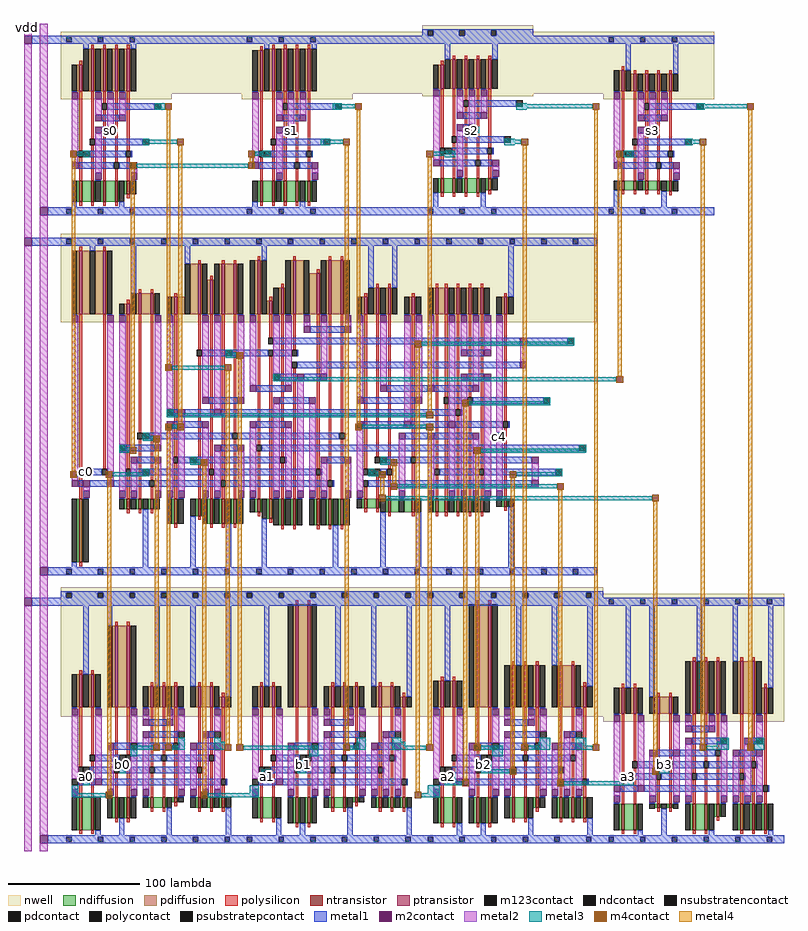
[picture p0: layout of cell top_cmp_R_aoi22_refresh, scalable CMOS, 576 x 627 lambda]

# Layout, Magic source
magic
tech scmos
<< nwell >>
rect 0 568 495 615
rect 0 399 406 462
rect 0 96 548 189
<< metal1 >>
rect -22 606 495 612
rect -10 476 495 482
rect -22 453 406 459
rect -10 203 406 209
rect -22 180 548 186
rect -10 0 548 6
<< m2contact >>
rect -28 606 -22 612
rect -16 476 -10 482
rect -28 453 -22 459
rect -16 203 -10 209
rect -28 180 -22 186
rect -16 0 -10 6
<< metal2 >>
rect -28 612 -22 621
rect -28 459 -22 606
rect -28 186 -22 453
rect -28 -6 -22 180
rect -16 482 -10 621
rect -16 209 -10 476
rect -16 6 -10 203
rect -16 -6 -10 0
<< metal3 >>
rect 71 556 79 561
rect 206 560 213 561
rect 206 557 223 560
rect 206 556 213 557
rect 345 560 353 561
rect 345 557 403 560
rect 345 556 353 557
rect 482 560 488 561
rect 482 557 520 560
rect 482 556 488 557
rect 35 538 40 543
rect 170 538 177 543
rect 309 538 317 543
rect 446 538 452 543
rect 62 533 67 534
rect 62 530 88 533
rect 62 529 67 530
rect 197 533 204 534
rect 197 530 214 533
rect 197 529 204 530
rect 336 533 344 534
rect 336 530 349 533
rect 336 529 344 530
rect 473 533 479 534
rect 473 530 484 533
rect 473 529 479 530
rect 17 524 22 525
rect 12 521 22 524
rect 17 520 22 521
rect 152 524 159 525
rect 147 521 159 524
rect 152 520 159 521
rect 291 524 299 525
rect 282 521 299 524
rect 291 520 299 521
rect 426 520 434 525
rect 57 512 142 515
rect 384 380 389 383
rect 273 377 389 380
rect 125 372 130 374
rect 125 368 133 372
rect 84 359 124 362
rect 161 353 166 356
rect 161 350 421 353
rect 366 335 371 338
rect 309 332 371 335
rect 80 326 85 329
rect 80 323 277 326
rect 84 314 88 317
rect 228 314 277 317
rect 62 309 67 311
rect 62 305 70 309
rect 330 305 335 311
rect 44 300 49 302
rect 44 296 52 300
rect 393 299 398 302
rect 318 296 398 299
rect 98 291 103 293
rect 242 291 247 293
rect 98 287 106 291
rect 242 287 250 291
rect 17 281 22 284
rect 12 278 22 281
rect 62 281 67 284
rect 39 278 67 281
rect 233 282 238 284
rect 233 278 241 282
rect 375 281 380 284
rect 345 278 380 281
rect 255 269 376 272
rect 246 260 448 263
rect 53 71 70 74
rect 53 66 58 71
rect 89 74 94 80
rect 84 71 94 74
rect 116 77 121 80
rect 116 71 124 77
rect 138 71 195 74
rect 188 66 195 71
rect 224 74 231 80
rect 219 71 231 74
rect 251 77 258 80
rect 363 77 371 80
rect 251 74 261 77
rect 251 71 277 74
rect 318 71 335 74
rect 327 66 335 71
rect 362 74 371 77
rect 354 71 371 74
rect 390 74 398 80
rect 500 77 506 80
rect 527 77 533 80
rect 390 71 403 74
rect 497 74 506 77
rect 489 71 506 74
rect 525 71 533 77
rect 44 53 49 62
rect 17 44 22 53
rect 152 48 159 56
rect 179 53 186 62
rect 318 56 326 62
rect 455 59 461 62
rect 318 53 340 56
rect 291 47 299 53
rect 428 50 434 53
rect 453 53 461 59
rect 291 44 304 47
rect 8 38 13 44
rect 8 35 34 38
rect 143 38 150 44
rect 111 35 150 38
rect 278 38 287 44
rect 425 47 434 50
rect 381 44 434 47
rect 273 35 287 38
<< m4contact >>
rect 79 556 84 561
rect 223 556 228 561
rect 403 556 408 561
rect 520 556 525 561
rect 88 529 93 534
rect 214 529 219 534
rect 349 529 354 534
rect 484 529 489 534
rect 7 520 12 525
rect 142 520 147 525
rect 277 520 282 525
rect 421 520 426 525
rect 52 511 57 516
rect 142 511 147 516
rect 268 376 273 381
rect 133 367 138 372
rect 79 358 84 363
rect 124 358 129 363
rect 421 349 426 354
rect 304 331 309 336
rect 277 322 282 327
rect 79 313 84 318
rect 88 313 93 318
rect 223 313 228 318
rect 277 313 282 318
rect 70 304 75 309
rect 52 295 57 300
rect 313 295 318 300
rect 106 286 111 291
rect 250 286 255 291
rect 7 277 12 282
rect 34 277 39 282
rect 241 277 246 282
rect 340 277 345 282
rect 250 268 255 273
rect 376 268 381 273
rect 241 259 246 264
rect 448 259 453 264
rect 70 70 75 75
rect 79 70 84 75
rect 124 70 129 75
rect 133 70 138 75
rect 214 70 219 75
rect 277 70 282 75
rect 313 70 318 75
rect 349 70 354 75
rect 403 70 408 75
rect 484 70 489 75
rect 520 70 525 75
rect 340 52 345 57
rect 448 52 453 57
rect 34 34 39 39
rect 106 34 111 39
rect 268 34 273 39
rect 304 43 309 48
rect 376 43 381 48
<< metal4 >>
rect 8 282 11 520
rect 53 300 56 511
rect 80 363 83 556
rect 89 318 92 529
rect 143 516 146 520
rect 35 39 38 277
rect 71 75 74 304
rect 80 75 83 313
rect 107 39 110 286
rect 125 75 128 358
rect 134 75 137 367
rect 215 75 218 529
rect 224 318 227 556
rect 242 264 245 277
rect 251 273 254 286
rect 269 39 272 376
rect 278 327 281 520
rect 278 75 281 313
rect 305 48 308 331
rect 314 75 317 295
rect 341 57 344 277
rect 350 75 353 529
rect 377 48 380 268
rect 404 75 407 556
rect 422 354 425 520
rect 449 57 452 259
rect 485 75 488 529
rect 521 75 524 556
use carry  carry_0
transform 1 0 0 0 1 203
box 0 0 406 259
use pg0  pg0_0
transform 1 0 0 0 1 0
box 0 0 137 189
use pg1  pg1_0
transform 1 0 137 0 1 0
box 0 0 137 189
use pg2  pg2_0
transform 1 0 274 0 1 0
box 0 0 137 189
use pg3  pg3_0
transform 1 0 411 0 1 0
box 0 0 137 189
use sum0  sum0_0
transform 1 0 0 0 1 476
box 0 0 84 139
use sum1  sum1_0
transform 1 0 137 0 1 476
box 0 0 84 139
use sum2  sum2_0
transform 1 0 274 0 1 476
box 0 0 84 139
use sum3  sum3_0
transform 1 0 411 0 1 476
box 0 0 84 139
<< labels >>
rlabel metal3 19 48 20 53 0 a0
port 1 nsew
rlabel metal3 156 48 157 53 0 a1
port 2 nsew
rlabel metal3 293 48 294 53 0 a2
port 3 nsew
rlabel metal3 430 48 431 53 0 a3
port 4 nsew
rlabel metal3 46 57 47 62 0 b0
port 5 nsew
rlabel metal3 183 57 184 62 0 b1
port 6 nsew
rlabel metal3 320 57 321 62 0 b2
port 7 nsew
rlabel metal3 457 57 458 62 0 b3
port 8 nsew
rlabel metal3 19 279 20 284 0 c0
port 9 nsew
rlabel metal3 332 306 333 311 0 c4
port 10 nsew
rlabel metal3 37 538 38 543 0 s0
port 11 nsew
rlabel metal3 174 538 175 543 0 s1
port 12 nsew
rlabel metal3 311 538 312 543 0 s2
port 13 nsew
rlabel metal3 448 538 449 543 0 s3
port 14 nsew
rlabel metal2 -28 615 -22 621 0 vdd
port 15 nsew
rlabel metal2 -16 615 -10 621 0 gnd
port 16 nsew
<< end >>

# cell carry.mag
magic
tech scmos
<< nwell >>
rect 0 192 406 259
<< ntransistor >>
rect 14 10 16 58
rect 50 50 52 58
rect 59 50 61 58
rect 68 50 70 58
rect 86 39 88 58
rect 104 45 106 58
rect 113 39 115 58
rect 122 39 124 58
rect 131 39 133 58
rect 149 48 151 58
rect 158 43 160 58
rect 167 38 169 58
rect 176 38 178 58
rect 194 38 196 58
rect 203 38 205 58
rect 212 38 214 58
rect 230 51 232 58
rect 239 51 241 58
rect 248 48 250 58
rect 266 48 268 58
rect 284 48 286 58
rect 291 48 293 58
rect 300 48 302 58
rect 309 48 311 58
rect 318 48 320 58
rect 336 52 338 58
<< ptransistor >>
rect 14 198 16 246
rect 32 198 34 246
rect 50 198 52 206
rect 59 198 61 214
rect 68 198 70 214
rect 86 198 88 211
rect 104 198 106 236
rect 113 198 115 224
rect 122 198 124 236
rect 131 198 133 236
rect 149 198 151 239
rect 158 198 160 208
rect 167 198 169 218
rect 176 198 178 239
rect 194 198 196 229
rect 203 198 205 239
rect 212 198 214 239
rect 230 198 232 211
rect 239 198 241 218
rect 248 198 250 218
rect 266 198 268 211
rect 284 198 286 218
rect 291 198 293 218
rect 300 198 302 218
rect 309 198 311 218
rect 318 198 320 218
rect 336 198 338 211
<< ndiffusion >>
rect 12 10 14 58
rect 16 10 17 58
rect 48 50 50 58
rect 52 50 53 58
rect 57 50 59 58
rect 61 50 62 58
rect 66 50 68 58
rect 70 50 71 58
rect 84 39 86 58
rect 88 39 89 58
rect 102 45 104 58
rect 106 45 107 58
rect 111 39 113 58
rect 115 39 116 58
rect 120 39 122 58
rect 124 39 125 58
rect 129 39 131 58
rect 133 39 134 58
rect 147 48 149 58
rect 151 48 152 58
rect 156 43 158 58
rect 160 43 161 58
rect 165 38 167 58
rect 169 38 170 58
rect 174 38 176 58
rect 178 38 179 58
rect 192 38 194 58
rect 196 38 197 58
rect 201 38 203 58
rect 205 38 206 58
rect 210 38 212 58
rect 214 38 215 58
rect 228 51 230 58
rect 232 51 239 58
rect 241 51 242 58
rect 246 48 248 58
rect 250 48 256 58
rect 260 48 266 58
rect 268 48 269 58
rect 282 48 284 58
rect 286 48 291 58
rect 293 48 294 58
rect 298 48 300 58
rect 302 48 303 58
rect 307 48 309 58
rect 311 48 312 58
rect 316 48 318 58
rect 320 48 321 58
rect 334 52 336 58
rect 338 52 339 58
<< pdiffusion >>
rect 12 198 14 246
rect 16 198 22 246
rect 26 198 32 246
rect 34 198 35 246
rect 48 198 50 206
rect 52 198 53 206
rect 57 198 59 214
rect 61 198 68 214
rect 70 198 71 214
rect 84 198 86 211
rect 88 198 94 211
rect 98 198 104 236
rect 106 198 107 236
rect 111 198 113 224
rect 115 198 116 224
rect 120 198 122 236
rect 124 198 131 236
rect 133 198 134 236
rect 147 198 149 239
rect 151 198 152 239
rect 156 198 158 208
rect 160 198 161 208
rect 165 198 167 218
rect 169 198 170 218
rect 174 198 176 239
rect 178 198 184 239
rect 188 198 194 229
rect 196 198 197 229
rect 201 198 203 239
rect 205 198 212 239
rect 214 198 215 239
rect 228 198 230 211
rect 232 198 233 211
rect 237 198 239 218
rect 241 198 242 218
rect 246 198 248 218
rect 250 198 251 218
rect 264 198 266 211
rect 268 198 269 211
rect 282 198 284 218
rect 286 198 291 218
rect 293 198 294 218
rect 298 198 300 218
rect 302 198 303 218
rect 307 198 309 218
rect 311 198 312 218
rect 316 198 318 218
rect 320 198 321 218
rect 334 198 336 211
rect 338 198 339 211
<< ndcontact >>
rect 8 10 12 58
rect 17 10 21 58
rect 44 50 48 58
rect 53 50 57 58
rect 62 50 66 58
rect 71 50 75 58
rect 80 39 84 58
rect 89 39 93 58
rect 98 45 102 58
rect 107 39 111 58
rect 116 39 120 58
rect 125 39 129 58
rect 134 39 138 58
rect 143 48 147 58
rect 152 43 156 58
rect 161 38 165 58
rect 170 38 174 58
rect 179 38 183 58
rect 188 38 192 58
rect 197 38 201 58
rect 206 38 210 58
rect 215 38 219 58
rect 224 51 228 58
rect 242 48 246 58
rect 256 48 260 58
rect 269 48 273 58
rect 278 48 282 58
rect 294 48 298 58
rect 303 48 307 58
rect 312 48 316 58
rect 321 48 325 58
rect 330 52 334 58
rect 339 52 343 58
<< pdcontact >>
rect 8 198 12 246
rect 22 198 26 246
rect 35 198 39 246
rect 44 198 48 206
rect 53 198 57 214
rect 71 198 75 214
rect 80 198 84 211
rect 94 198 98 236
rect 107 198 111 236
rect 116 198 120 236
rect 134 198 138 236
rect 143 198 147 239
rect 152 198 156 239
rect 161 198 165 218
rect 170 198 174 239
rect 184 198 188 239
rect 197 198 201 239
rect 215 198 219 239
rect 224 198 228 211
rect 233 198 237 218
rect 242 198 246 218
rect 251 198 255 218
rect 260 198 264 211
rect 269 198 273 211
rect 278 198 282 218
rect 294 198 298 218
rect 303 198 307 218
rect 312 198 316 218
rect 321 198 325 218
rect 330 198 334 211
rect 339 198 343 211
<< psubstratepcontact >>
rect 4 1 8 5
rect 28 1 32 5
rect 52 1 56 5
rect 76 1 80 5
rect 100 1 104 5
rect 124 1 128 5
rect 148 1 152 5
rect 172 1 176 5
rect 196 1 200 5
rect 220 1 224 5
rect 244 1 248 5
rect 268 1 272 5
rect 292 1 296 5
rect 316 1 320 5
rect 340 1 344 5
rect 364 1 368 5
rect 388 1 392 5
<< nsubstratencontact >>
rect 4 251 8 255
rect 28 251 32 255
rect 52 251 56 255
rect 76 251 80 255
rect 100 251 104 255
rect 124 251 128 255
rect 148 251 152 255
rect 172 251 176 255
rect 196 251 200 255
rect 220 251 224 255
rect 244 251 248 255
rect 268 251 272 255
rect 292 251 296 255
rect 316 251 320 255
rect 340 251 344 255
rect 364 251 368 255
rect 388 251 392 255
<< polysilicon >>
rect 14 246 16 249
rect 32 246 34 249
rect 149 239 151 242
rect 176 239 178 242
rect 203 239 205 242
rect 212 239 214 242
rect 104 236 106 239
rect 122 236 124 239
rect 131 236 133 239
rect 59 214 61 217
rect 68 214 70 217
rect 50 206 52 209
rect 86 211 88 214
rect 113 224 115 227
rect 167 218 169 221
rect 158 208 160 211
rect 194 229 196 232
rect 239 218 241 221
rect 248 218 250 221
rect 284 218 286 221
rect 291 218 293 221
rect 300 218 302 221
rect 309 218 311 221
rect 318 218 320 221
rect 230 211 232 214
rect 266 211 268 214
rect 336 211 338 214
rect 14 81 16 198
rect 32 81 34 198
rect 50 81 52 198
rect 59 108 61 198
rect 14 58 16 76
rect 50 58 52 76
rect 59 58 61 103
rect 68 72 70 198
rect 86 90 88 198
rect 104 171 106 198
rect 68 58 70 67
rect 86 58 88 85
rect 104 58 106 166
rect 113 81 115 198
rect 113 58 115 76
rect 122 72 124 198
rect 131 108 133 198
rect 122 58 124 67
rect 131 58 133 103
rect 149 99 151 198
rect 158 180 160 198
rect 149 58 151 94
rect 158 58 160 166
rect 167 90 169 198
rect 176 171 178 198
rect 167 58 169 85
rect 176 58 178 157
rect 194 81 196 198
rect 194 58 196 76
rect 203 72 205 198
rect 212 108 214 198
rect 203 58 205 67
rect 212 58 214 103
rect 230 81 232 198
rect 239 90 241 198
rect 248 81 250 198
rect 266 90 268 198
rect 230 58 232 67
rect 239 58 241 76
rect 248 58 250 76
rect 266 58 268 85
rect 284 81 286 198
rect 291 135 293 198
rect 284 58 286 76
rect 291 58 293 130
rect 300 126 302 198
rect 309 135 311 198
rect 300 58 302 121
rect 309 58 311 130
rect 318 81 320 198
rect 336 117 338 198
rect 318 58 320 76
rect 336 58 338 112
rect 50 47 52 50
rect 59 47 61 50
rect 68 47 70 50
rect 104 42 106 45
rect 149 45 151 48
rect 158 40 160 43
rect 86 36 88 39
rect 113 36 115 39
rect 122 36 124 39
rect 131 36 133 39
rect 230 48 232 51
rect 239 48 241 51
rect 336 49 338 52
rect 248 45 250 48
rect 266 45 268 48
rect 284 45 286 48
rect 291 45 293 48
rect 300 45 302 48
rect 309 45 311 48
rect 318 45 320 48
rect 167 35 169 38
rect 176 35 178 38
rect 194 35 196 38
rect 203 35 205 38
rect 212 35 214 38
rect 14 7 16 10
<< polycontact >>
rect 58 103 62 108
rect 13 76 17 81
rect 31 76 35 81
rect 49 76 53 81
rect 103 166 107 171
rect 85 85 89 90
rect 67 67 71 72
rect 112 76 116 81
rect 130 103 134 108
rect 121 67 125 72
rect 157 175 161 180
rect 157 166 161 171
rect 148 94 152 99
rect 175 166 179 171
rect 175 157 179 162
rect 166 85 170 90
rect 193 76 197 81
rect 211 103 215 108
rect 202 67 206 72
rect 238 85 242 90
rect 265 85 269 90
rect 229 76 233 81
rect 238 76 242 81
rect 247 76 251 81
rect 229 67 233 72
rect 290 130 294 135
rect 283 76 287 81
rect 308 130 312 135
rect 299 121 303 126
rect 335 112 339 117
rect 317 76 321 81
<< metal1 >>
rect 0 255 406 256
rect 0 251 4 255
rect 8 251 28 255
rect 32 251 52 255
rect 56 251 76 255
rect 80 251 100 255
rect 104 251 124 255
rect 128 251 148 255
rect 152 251 172 255
rect 176 251 196 255
rect 200 251 220 255
rect 224 251 244 255
rect 248 251 268 255
rect 272 251 292 255
rect 296 251 316 255
rect 320 251 340 255
rect 344 251 364 255
rect 368 251 388 255
rect 392 251 406 255
rect 0 250 406 251
rect 22 246 26 250
rect 53 214 57 250
rect 94 236 98 250
rect 152 239 156 250
rect 8 197 12 198
rect 35 197 39 198
rect 44 197 48 198
rect 71 197 75 198
rect 80 197 84 198
rect 107 197 111 198
rect 116 197 120 198
rect 134 197 138 198
rect 143 197 147 198
rect 161 197 165 198
rect 170 197 174 198
rect 184 197 188 198
rect 197 197 201 198
rect 233 218 237 250
rect 251 218 255 250
rect 215 197 219 198
rect 224 197 228 198
rect 242 197 246 198
rect 260 197 264 198
rect 269 197 273 198
rect 278 197 282 198
rect 294 197 298 198
rect 303 197 307 198
rect 312 197 316 198
rect 339 211 343 250
rect 321 197 325 198
rect 330 197 334 198
rect 189 184 215 189
rect 161 175 348 180
rect 353 175 384 180
rect 107 166 125 171
rect 130 166 157 171
rect 161 166 175 171
rect 179 166 180 171
rect 308 166 321 171
rect 179 157 348 162
rect 166 148 179 153
rect 184 148 197 153
rect 308 148 321 153
rect 148 139 170 144
rect 247 139 278 144
rect 283 139 312 144
rect 112 130 134 135
rect 166 130 188 135
rect 229 130 269 135
rect 294 130 308 135
rect 312 130 366 135
rect 85 121 89 126
rect 94 121 116 126
rect 121 121 299 126
rect 303 121 304 126
rect 85 112 107 117
rect 148 112 170 117
rect 229 112 260 117
rect 265 112 294 117
rect 299 112 335 117
rect 339 112 340 117
rect 67 103 130 108
rect 134 103 211 108
rect 215 103 216 108
rect 261 103 278 108
rect 283 103 312 108
rect 49 94 71 99
rect 121 94 134 99
rect 152 94 393 99
rect 58 85 71 90
rect 89 85 98 90
rect 103 85 166 90
rect 170 85 171 90
rect 202 85 215 90
rect 247 85 265 90
rect 269 85 357 90
rect 22 76 31 81
rect 35 76 36 81
rect 53 76 62 81
rect 67 76 112 81
rect 116 76 193 81
rect 197 76 198 81
rect 242 76 247 81
rect 251 76 252 81
rect 287 76 317 81
rect 321 76 375 81
rect 13 67 17 72
rect 22 67 35 72
rect 40 67 67 72
rect 71 67 121 72
rect 125 67 202 72
rect 206 67 207 72
rect 233 67 357 72
rect 17 58 21 59
rect 44 58 48 59
rect 53 58 57 59
rect 71 58 75 59
rect 80 58 84 59
rect 8 6 12 10
rect 62 6 66 50
rect 89 58 93 59
rect 107 58 111 59
rect 98 6 102 45
rect 116 58 120 59
rect 134 58 138 59
rect 143 58 147 59
rect 161 58 165 59
rect 125 6 129 39
rect 152 6 156 43
rect 170 58 174 59
rect 179 58 183 59
rect 188 58 192 59
rect 197 58 201 59
rect 215 58 219 59
rect 224 58 228 59
rect 256 58 260 59
rect 278 58 282 59
rect 294 58 298 59
rect 303 58 307 59
rect 312 58 316 59
rect 321 58 325 59
rect 330 58 334 59
rect 206 6 210 38
rect 242 6 246 48
rect 269 6 273 48
rect 339 6 343 52
rect 0 5 406 6
rect 0 1 4 5
rect 8 1 28 5
rect 32 1 52 5
rect 56 1 76 5
rect 80 1 100 5
rect 104 1 124 5
rect 128 1 148 5
rect 152 1 172 5
rect 176 1 196 5
rect 200 1 220 5
rect 224 1 244 5
rect 248 1 268 5
rect 272 1 292 5
rect 296 1 316 5
rect 320 1 340 5
rect 344 1 364 5
rect 368 1 388 5
rect 392 1 406 5
rect 0 0 406 1
<< m2contact >>
rect 8 192 13 197
rect 35 192 40 197
rect 44 192 49 197
rect 71 192 76 197
rect 80 192 85 197
rect 107 192 112 197
rect 116 192 121 197
rect 134 192 139 197
rect 143 192 148 197
rect 161 192 166 197
rect 170 192 175 197
rect 184 192 189 197
rect 197 192 202 197
rect 215 192 220 197
rect 224 192 229 197
rect 242 192 247 197
rect 260 192 265 197
rect 269 192 274 197
rect 278 192 283 197
rect 294 192 299 197
rect 303 192 308 197
rect 312 192 317 197
rect 321 192 326 197
rect 330 192 335 197
rect 184 184 189 189
rect 215 184 220 189
rect 348 175 353 180
rect 303 166 308 171
rect 321 166 326 171
rect 348 157 353 162
rect 179 148 184 153
rect 197 148 202 153
rect 303 148 308 153
rect 321 148 326 153
rect 143 139 148 144
rect 170 139 175 144
rect 242 139 247 144
rect 278 139 283 144
rect 312 139 317 144
rect 107 130 112 135
rect 134 130 139 135
rect 161 130 166 135
rect 188 130 193 135
rect 224 130 229 135
rect 269 130 274 135
rect 89 121 94 126
rect 116 121 121 126
rect 80 112 85 117
rect 107 112 112 117
rect 143 112 148 117
rect 170 112 175 117
rect 224 112 229 117
rect 260 112 265 117
rect 294 112 299 117
rect 256 103 261 108
rect 278 103 283 108
rect 312 103 317 108
rect 71 94 76 99
rect 116 94 121 99
rect 134 94 139 99
rect 53 85 58 90
rect 71 85 76 90
rect 197 85 202 90
rect 215 85 220 90
rect 357 85 362 90
rect 8 67 13 72
rect 17 67 22 72
rect 35 67 40 72
rect 357 67 362 72
rect 17 59 22 64
rect 44 59 49 64
rect 53 59 58 64
rect 71 59 76 64
rect 80 59 85 64
rect 89 59 94 64
rect 107 59 112 64
rect 116 59 121 64
rect 134 59 139 64
rect 143 59 148 64
rect 161 59 166 64
rect 170 59 175 64
rect 179 59 184 64
rect 188 59 193 64
rect 197 59 202 64
rect 215 59 220 64
rect 224 59 229 64
rect 256 59 261 64
rect 278 59 283 64
rect 294 59 299 64
rect 303 59 308 64
rect 312 59 317 64
rect 321 59 326 64
rect 330 59 335 64
<< metal2 >>
rect 8 72 13 192
rect 35 72 40 192
rect 44 99 49 192
rect 71 99 76 192
rect 80 126 85 192
rect 107 135 112 192
rect 116 126 121 192
rect 134 135 139 192
rect 143 144 148 192
rect 161 153 166 192
rect 170 144 175 192
rect 184 189 189 192
rect 197 153 202 192
rect 215 189 220 192
rect 17 64 22 67
rect 44 64 49 94
rect 53 64 58 85
rect 71 64 76 85
rect 80 64 85 112
rect 89 64 94 121
rect 107 64 112 112
rect 116 64 121 94
rect 134 64 139 94
rect 143 64 148 112
rect 161 64 166 130
rect 170 64 175 112
rect 179 64 184 148
rect 224 135 229 192
rect 242 144 247 192
rect 188 64 193 130
rect 260 117 265 192
rect 269 135 274 192
rect 278 144 283 192
rect 294 117 299 192
rect 303 171 308 192
rect 197 64 202 85
rect 215 64 220 85
rect 224 64 229 112
rect 256 64 261 103
rect 278 64 283 103
rect 294 64 299 112
rect 303 64 308 148
rect 312 144 317 192
rect 321 171 326 192
rect 312 64 317 103
rect 321 64 326 148
rect 330 108 335 192
rect 348 162 353 175
rect 330 64 335 103
rect 357 72 362 85
<< m123contact >>
rect 17 76 22 81
rect 62 103 67 108
rect 44 94 49 99
rect 125 166 130 171
rect 161 148 166 153
rect 80 121 85 126
rect 62 76 67 81
rect 98 85 103 90
rect 242 85 247 90
rect 233 76 238 81
rect 384 175 389 180
rect 366 130 371 135
rect 330 103 335 108
rect 393 94 398 99
rect 375 76 380 81
<< labels >>
rlabel metal1 290 130 292 135 0 a2
port 1 nsew
rlabel metal1 238 85 240 90 0 a3
port 2 nsew
rlabel metal1 283 76 285 81 0 b2
port 3 nsew
rlabel metal1 229 76 231 81 0 b3
port 4 nsew
rlabel metal1 13 76 15 81 0 c0
port 5 nsew
rlabel metal1 44 94 46 99 0 c1
port 6 nsew
rlabel metal1 80 121 82 126 0 c2
port 7 nsew
rlabel metal1 161 148 163 153 0 c3
port 8 nsew
rlabel metal1 330 103 332 108 0 c4
port 9 nsew
rlabel metal1 49 76 51 81 0 g0b
port 10 nsew
rlabel metal1 85 85 87 90 0 g1b
port 11 nsew
rlabel metal1 157 175 159 180 0 g2b
port 12 nsew
rlabel metal1 58 103 60 108 0 t0b
port 13 nsew
rlabel metal1 103 166 105 171 0 t1b
port 14 nsew
rlabel metal1 148 94 150 99 0 t2b
port 15 nsew
rlabel m2contact 8 67 10 72 0 c0b
rlabel m2contact 53 85 55 90 0 c1_xn1
rlabel m2contact 80 112 82 117 0 c2_xn1
rlabel m2contact 116 94 118 99 0 c2_xn2
rlabel m2contact 107 130 109 135 0 c2_xp1
rlabel m2contact 143 112 145 117 0 c3_xn1
rlabel m2contact 161 130 163 135 0 c3_xn2
rlabel m2contact 197 85 199 90 0 c3_xn3
rlabel m2contact 143 139 145 144 0 c3_xp1
rlabel m2contact 184 184 186 189 0 c3_xp2
rlabel m2contact 224 112 226 117 0 c4b
rlabel m2contact 256 103 258 108 0 c4m_xn2
rlabel m2contact 303 148 305 153 0 c4m_xn4
rlabel m2contact 224 130 226 135 0 c4m_xp1
rlabel m2contact 242 139 244 144 0 c4m_xp2
rlabel m2contact 303 166 305 171 0 c4m_xp4
rlabel metal1 0 250 2 256 0 vdd
port 16 nsew
rlabel metal1 0 0 2 6 0 gnd
port 17 nsew
<< end >>

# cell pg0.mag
magic
tech scmos
<< nwell >>
rect 0 97 137 194
<< ntransistor >>
rect 14 10 16 35
rect 23 10 25 35
rect 41 19 43 35
rect 50 19 52 35
rect 68 27 70 35
rect 77 27 79 35
rect 86 31 88 35
rect 104 27 106 35
rect 113 27 115 35
rect 122 27 124 35
<< ptransistor >>
rect 14 103 16 128
rect 23 103 25 128
rect 41 103 43 165
rect 50 103 52 165
rect 68 103 70 119
rect 77 103 79 119
rect 86 103 88 119
rect 104 103 106 119
rect 113 103 115 119
rect 122 103 124 111
<< ndiffusion >>
rect 12 10 14 35
rect 16 10 23 35
rect 25 10 26 35
rect 39 19 41 35
rect 43 19 44 35
rect 48 19 50 35
rect 52 19 53 35
rect 66 27 68 35
rect 70 27 77 35
rect 79 27 80 35
rect 84 31 86 35
rect 88 31 89 35
rect 102 27 104 35
rect 106 27 107 35
rect 111 27 113 35
rect 115 27 116 35
rect 120 27 122 35
rect 124 27 125 35
<< pdiffusion >>
rect 12 103 14 128
rect 16 103 17 128
rect 21 103 23 128
rect 25 103 26 128
rect 39 103 41 165
rect 43 103 50 165
rect 52 103 53 165
rect 66 103 68 119
rect 70 103 71 119
rect 75 103 77 119
rect 79 103 80 119
rect 84 103 86 119
rect 88 103 89 119
rect 102 103 104 119
rect 106 103 113 119
rect 115 103 116 119
rect 120 103 122 111
rect 124 103 125 111
<< ndcontact >>
rect 8 10 12 35
rect 26 10 30 35
rect 35 19 39 35
rect 44 19 48 35
rect 53 19 57 35
rect 62 27 66 35
rect 80 27 84 35
rect 89 31 93 35
rect 98 27 102 35
rect 107 27 111 35
rect 116 27 120 35
rect 125 27 129 35
<< pdcontact >>
rect 8 103 12 128
rect 17 103 21 128
rect 26 103 30 128
rect 35 103 39 165
rect 53 103 57 165
rect 62 103 66 119
rect 71 103 75 119
rect 80 103 84 119
rect 89 103 93 119
rect 98 103 102 119
rect 116 103 120 119
rect 125 103 129 111
<< psubstratepcontact >>
rect 4 1 8 5
rect 28 1 32 5
rect 52 1 56 5
rect 76 1 80 5
rect 100 1 104 5
rect 124 1 128 5
<< nsubstratencontact >>
rect 4 186 8 190
rect 28 186 32 190
rect 52 186 56 190
rect 76 186 80 190
rect 100 186 104 190
rect 124 186 128 190
<< polysilicon >>
rect 41 165 43 168
rect 50 165 52 168
rect 14 128 16 131
rect 23 128 25 131
rect 68 119 70 122
rect 77 119 79 122
rect 86 119 88 122
rect 104 119 106 122
rect 113 119 115 122
rect 122 111 124 114
rect 14 58 16 103
rect 23 67 25 103
rect 14 35 16 53
rect 23 35 25 62
rect 41 58 43 103
rect 50 67 52 103
rect 41 35 43 53
rect 50 35 52 62
rect 68 58 70 103
rect 77 67 79 103
rect 86 76 88 103
rect 68 35 70 53
rect 77 35 79 62
rect 86 35 88 71
rect 104 58 106 103
rect 113 67 115 103
rect 104 35 106 53
rect 113 35 115 62
rect 122 49 124 103
rect 122 35 124 44
rect 86 28 88 31
rect 68 24 70 27
rect 77 24 79 27
rect 104 24 106 27
rect 113 24 115 27
rect 122 24 124 27
rect 41 16 43 19
rect 50 16 52 19
rect 14 7 16 10
rect 23 7 25 10
<< polycontact >>
rect 22 62 26 67
rect 13 53 17 58
rect 49 62 53 67
rect 40 53 44 58
rect 85 71 89 76
rect 76 62 80 67
rect 67 53 71 58
rect 112 62 116 67
rect 103 53 107 58
rect 121 44 125 49
<< metal1 >>
rect 0 190 137 191
rect 0 186 4 190
rect 8 186 28 190
rect 32 186 52 190
rect 56 186 76 190
rect 80 186 100 190
rect 104 186 124 190
rect 128 186 137 190
rect 0 185 137 186
rect 17 128 21 185
rect 35 165 39 185
rect 71 119 75 185
rect 98 119 102 185
rect 8 102 12 103
rect 26 102 30 103
rect 53 102 57 103
rect 62 102 66 103
rect 80 102 84 103
rect 125 111 129 185
rect 89 102 93 103
rect 116 102 120 103
rect 67 89 80 94
rect 67 80 89 85
rect 112 80 116 85
rect 40 71 53 76
rect 58 71 85 76
rect 89 71 90 76
rect 103 71 116 76
rect 26 62 44 67
rect 53 62 76 67
rect 80 62 112 67
rect 116 62 117 67
rect 22 53 40 58
rect 44 53 67 58
rect 71 53 103 58
rect 107 53 108 58
rect 13 44 26 49
rect 31 44 121 49
rect 125 44 126 49
rect 8 35 12 36
rect 35 35 39 36
rect 53 35 57 36
rect 62 35 66 36
rect 89 35 93 36
rect 98 35 102 36
rect 107 35 111 36
rect 116 35 120 36
rect 26 6 30 10
rect 44 6 48 19
rect 80 6 84 27
rect 125 6 129 27
rect 0 5 137 6
rect 0 1 4 5
rect 8 1 28 5
rect 32 1 52 5
rect 56 1 76 5
rect 80 1 100 5
rect 104 1 124 5
rect 128 1 137 5
rect 0 0 137 1
<< m2contact >>
rect 8 97 13 102
rect 26 97 31 102
rect 53 97 58 102
rect 62 97 67 102
rect 80 97 85 102
rect 89 97 94 102
rect 116 97 121 102
rect 62 89 67 94
rect 80 89 85 94
rect 62 80 67 85
rect 107 80 112 85
rect 35 71 40 76
rect 98 71 103 76
rect 116 71 121 76
rect 26 44 31 49
rect 8 36 13 41
rect 35 36 40 41
rect 53 36 58 41
rect 62 36 67 41
rect 89 36 94 41
rect 98 36 103 41
rect 107 36 112 41
rect 116 36 121 41
<< metal2 >>
rect 8 49 13 97
rect 26 49 31 97
rect 53 76 58 97
rect 62 94 67 97
rect 80 94 85 97
rect 89 85 94 97
rect 116 85 121 97
rect 8 41 13 44
rect 35 41 40 71
rect 53 41 58 71
rect 62 41 67 80
rect 89 41 94 80
rect 98 41 103 71
rect 107 41 112 80
rect 116 41 121 71
<< m123contact >>
rect 17 53 22 58
rect 8 44 13 49
rect 53 71 58 76
rect 44 62 49 67
rect 89 80 94 85
rect 116 80 121 85
<< labels >>
rlabel metal1 13 53 15 58 0 a0
port 1 nsew
rlabel metal1 22 62 24 67 0 b0
port 2 nsew
rlabel metal1 8 44 10 49 0 g0b
port 3 nsew
rlabel m2contact 62 80 64 85 0 p0
port 4 nsew
rlabel m2contact 107 80 109 85 0 p0b
port 5 nsew
rlabel m2contact 35 71 37 76 0 t0b
port 6 nsew
rlabel m2contact 62 89 64 94 0 aoi0_xp1
rlabel m2contact 98 71 100 76 0 oai0_xn1
rlabel metal1 0 185 2 191 0 vdd
port 7 nsew
rlabel metal1 0 0 2 6 0 gnd
port 8 nsew
<< end >>

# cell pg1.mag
magic
tech scmos
<< nwell >>
rect 0 97 137 194
<< ntransistor >>
rect 14 19 16 35
rect 23 19 25 35
rect 41 15 43 35
rect 50 15 52 35
rect 68 27 70 35
rect 77 27 79 35
rect 86 31 88 35
rect 104 27 106 35
rect 113 27 115 35
rect 122 27 124 35
<< ptransistor >>
rect 14 103 16 119
rect 23 103 25 119
rect 41 103 43 181
rect 50 103 52 181
rect 68 103 70 119
rect 77 103 79 119
rect 86 103 88 119
rect 104 103 106 119
rect 113 103 115 119
rect 122 103 124 111
<< ndiffusion >>
rect 12 19 14 35
rect 16 19 23 35
rect 25 19 26 35
rect 39 15 41 35
rect 43 15 44 35
rect 48 15 50 35
rect 52 15 53 35
rect 66 27 68 35
rect 70 27 77 35
rect 79 27 80 35
rect 84 31 86 35
rect 88 31 89 35
rect 102 27 104 35
rect 106 27 107 35
rect 111 27 113 35
rect 115 27 116 35
rect 120 27 122 35
rect 124 27 125 35
<< pdiffusion >>
rect 12 103 14 119
rect 16 103 17 119
rect 21 103 23 119
rect 25 103 26 119
rect 39 103 41 181
rect 43 103 50 181
rect 52 103 53 181
rect 66 103 68 119
rect 70 103 71 119
rect 75 103 77 119
rect 79 103 80 119
rect 84 103 86 119
rect 88 103 89 119
rect 102 103 104 119
rect 106 103 113 119
rect 115 103 116 119
rect 120 103 122 111
rect 124 103 125 111
<< ndcontact >>
rect 8 19 12 35
rect 26 19 30 35
rect 35 15 39 35
rect 44 15 48 35
rect 53 15 57 35
rect 62 27 66 35
rect 80 27 84 35
rect 89 31 93 35
rect 98 27 102 35
rect 107 27 111 35
rect 116 27 120 35
rect 125 27 129 35
<< pdcontact >>
rect 8 103 12 119
rect 17 103 21 119
rect 26 103 30 119
rect 35 103 39 181
rect 53 103 57 181
rect 62 103 66 119
rect 71 103 75 119
rect 80 103 84 119
rect 89 103 93 119
rect 98 103 102 119
rect 116 103 120 119
rect 125 103 129 111
<< psubstratepcontact >>
rect 4 1 8 5
rect 28 1 32 5
rect 52 1 56 5
rect 76 1 80 5
rect 100 1 104 5
rect 124 1 128 5
<< nsubstratencontact >>
rect 4 186 8 190
rect 28 186 32 190
rect 52 186 56 190
rect 76 186 80 190
rect 100 186 104 190
rect 124 186 128 190
<< polysilicon >>
rect 41 181 43 184
rect 50 181 52 184
rect 14 119 16 122
rect 23 119 25 122
rect 68 119 70 122
rect 77 119 79 122
rect 86 119 88 122
rect 104 119 106 122
rect 113 119 115 122
rect 122 111 124 114
rect 14 58 16 103
rect 23 67 25 103
rect 14 35 16 53
rect 23 35 25 62
rect 41 58 43 103
rect 50 67 52 103
rect 41 35 43 53
rect 50 35 52 62
rect 68 58 70 103
rect 77 67 79 103
rect 86 76 88 103
rect 68 35 70 53
rect 77 35 79 62
rect 86 35 88 71
rect 104 58 106 103
rect 113 67 115 103
rect 104 35 106 53
rect 113 35 115 62
rect 122 49 124 103
rect 122 35 124 44
rect 14 16 16 19
rect 23 16 25 19
rect 86 28 88 31
rect 68 24 70 27
rect 77 24 79 27
rect 104 24 106 27
rect 113 24 115 27
rect 122 24 124 27
rect 41 12 43 15
rect 50 12 52 15
<< polycontact >>
rect 22 62 26 67
rect 13 53 17 58
rect 49 62 53 67
rect 40 53 44 58
rect 85 71 89 76
rect 76 62 80 67
rect 67 53 71 58
rect 112 62 116 67
rect 103 53 107 58
rect 121 44 125 49
<< metal1 >>
rect 0 190 137 191
rect 0 186 4 190
rect 8 186 28 190
rect 32 186 52 190
rect 56 186 76 190
rect 80 186 100 190
rect 104 186 124 190
rect 128 186 137 190
rect 0 185 137 186
rect 17 119 21 185
rect 35 181 39 185
rect 71 119 75 185
rect 98 119 102 185
rect 8 102 12 103
rect 26 102 30 103
rect 53 102 57 103
rect 62 102 66 103
rect 80 102 84 103
rect 125 111 129 185
rect 89 102 93 103
rect 116 102 120 103
rect 67 89 80 94
rect 67 80 89 85
rect 112 80 116 85
rect 40 71 53 76
rect 58 71 85 76
rect 89 71 90 76
rect 103 71 116 76
rect 26 62 44 67
rect 53 62 76 67
rect 80 62 112 67
rect 116 62 117 67
rect 22 53 40 58
rect 44 53 67 58
rect 71 53 103 58
rect 107 53 108 58
rect 13 44 26 49
rect 31 44 121 49
rect 125 44 126 49
rect 8 35 12 36
rect 35 35 39 36
rect 53 35 57 36
rect 26 6 30 19
rect 62 35 66 36
rect 89 35 93 36
rect 98 35 102 36
rect 107 35 111 36
rect 116 35 120 36
rect 44 6 48 15
rect 80 6 84 27
rect 125 6 129 27
rect 0 5 137 6
rect 0 1 4 5
rect 8 1 28 5
rect 32 1 52 5
rect 56 1 76 5
rect 80 1 100 5
rect 104 1 124 5
rect 128 1 137 5
rect 0 0 137 1
<< m2contact >>
rect 8 97 13 102
rect 26 97 31 102
rect 53 97 58 102
rect 62 97 67 102
rect 80 97 85 102
rect 89 97 94 102
rect 116 97 121 102
rect 62 89 67 94
rect 80 89 85 94
rect 62 80 67 85
rect 107 80 112 85
rect 35 71 40 76
rect 98 71 103 76
rect 116 71 121 76
rect 26 44 31 49
rect 8 36 13 41
rect 35 36 40 41
rect 53 36 58 41
rect 62 36 67 41
rect 89 36 94 41
rect 98 36 103 41
rect 107 36 112 41
rect 116 36 121 41
<< metal2 >>
rect 8 49 13 97
rect 26 49 31 97
rect 53 76 58 97
rect 62 94 67 97
rect 80 94 85 97
rect 89 85 94 97
rect 116 85 121 97
rect 8 41 13 44
rect 35 41 40 71
rect 53 41 58 71
rect 62 41 67 80
rect 89 41 94 80
rect 98 41 103 71
rect 107 41 112 80
rect 116 41 121 71
<< m123contact >>
rect 17 53 22 58
rect 8 44 13 49
rect 53 71 58 76
rect 44 62 49 67
rect 89 80 94 85
rect 116 80 121 85
<< labels >>
rlabel metal1 13 53 15 58 0 a1
port 1 nsew
rlabel metal1 22 62 24 67 0 b1
port 2 nsew
rlabel metal1 8 44 10 49 0 g1b
port 3 nsew
rlabel m2contact 62 80 64 85 0 p1
port 4 nsew
rlabel m2contact 107 80 109 85 0 p1b
port 5 nsew
rlabel m2contact 35 71 37 76 0 t1b
port 6 nsew
rlabel m2contact 62 89 64 94 0 aoi1_xp1
rlabel m2contact 98 71 100 76 0 oai1_xn1
rlabel metal1 0 185 2 191 0 vdd
port 7 nsew
rlabel metal1 0 0 2 6 0 gnd
port 8 nsew
<< end >>

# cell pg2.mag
magic
tech scmos
<< nwell >>
rect 0 97 137 194
<< ntransistor >>
rect 14 15 16 35
rect 23 15 25 35
rect 41 15 43 35
rect 50 15 52 35
rect 68 19 70 35
rect 77 19 79 35
rect 86 27 88 35
rect 104 19 106 35
rect 113 19 115 35
rect 122 19 124 35
<< ptransistor >>
rect 14 103 16 123
rect 23 103 25 123
rect 41 103 43 181
rect 50 103 52 181
rect 68 103 70 135
rect 77 103 79 135
rect 86 103 88 135
rect 104 103 106 135
rect 113 103 115 135
rect 122 103 124 119
<< ndiffusion >>
rect 12 15 14 35
rect 16 15 23 35
rect 25 15 26 35
rect 39 15 41 35
rect 43 15 44 35
rect 48 15 50 35
rect 52 15 53 35
rect 66 19 68 35
rect 70 19 77 35
rect 79 19 80 35
rect 84 27 86 35
rect 88 27 89 35
rect 102 19 104 35
rect 106 19 107 35
rect 111 19 113 35
rect 115 19 116 35
rect 120 19 122 35
rect 124 19 125 35
<< pdiffusion >>
rect 12 103 14 123
rect 16 103 17 123
rect 21 103 23 123
rect 25 103 26 123
rect 39 103 41 181
rect 43 103 50 181
rect 52 103 53 181
rect 66 103 68 135
rect 70 103 71 135
rect 75 103 77 135
rect 79 103 80 135
rect 84 103 86 135
rect 88 103 89 135
rect 102 103 104 135
rect 106 103 113 135
rect 115 103 116 135
rect 120 103 122 119
rect 124 103 125 119
<< ndcontact >>
rect 8 15 12 35
rect 26 15 30 35
rect 35 15 39 35
rect 44 15 48 35
rect 53 15 57 35
rect 62 19 66 35
rect 80 19 84 35
rect 89 27 93 35
rect 98 19 102 35
rect 107 19 111 35
rect 116 19 120 35
rect 125 19 129 35
<< pdcontact >>
rect 8 103 12 123
rect 17 103 21 123
rect 26 103 30 123
rect 35 103 39 181
rect 53 103 57 181
rect 62 103 66 135
rect 71 103 75 135
rect 80 103 84 135
rect 89 103 93 135
rect 98 103 102 135
rect 116 103 120 135
rect 125 103 129 119
<< psubstratepcontact >>
rect 4 1 8 5
rect 28 1 32 5
rect 52 1 56 5
rect 76 1 80 5
rect 100 1 104 5
rect 124 1 128 5
<< nsubstratencontact >>
rect 4 186 8 190
rect 28 186 32 190
rect 52 186 56 190
rect 76 186 80 190
rect 100 186 104 190
rect 124 186 128 190
<< polysilicon >>
rect 41 181 43 184
rect 50 181 52 184
rect 14 123 16 126
rect 23 123 25 126
rect 68 135 70 138
rect 77 135 79 138
rect 86 135 88 138
rect 104 135 106 138
rect 113 135 115 138
rect 122 119 124 122
rect 14 58 16 103
rect 23 67 25 103
rect 14 35 16 53
rect 23 35 25 62
rect 41 58 43 103
rect 50 67 52 103
rect 41 35 43 53
rect 50 35 52 62
rect 68 58 70 103
rect 77 67 79 103
rect 86 76 88 103
rect 68 35 70 53
rect 77 35 79 62
rect 86 35 88 71
rect 104 58 106 103
rect 113 67 115 103
rect 104 35 106 53
rect 113 35 115 62
rect 122 49 124 103
rect 122 35 124 44
rect 86 24 88 27
rect 68 16 70 19
rect 77 16 79 19
rect 104 16 106 19
rect 113 16 115 19
rect 122 16 124 19
rect 14 12 16 15
rect 23 12 25 15
rect 41 12 43 15
rect 50 12 52 15
<< polycontact >>
rect 22 62 26 67
rect 13 53 17 58
rect 49 62 53 67
rect 40 53 44 58
rect 85 71 89 76
rect 76 62 80 67
rect 67 53 71 58
rect 112 62 116 67
rect 103 53 107 58
rect 121 44 125 49
<< metal1 >>
rect 0 190 137 191
rect 0 186 4 190
rect 8 186 28 190
rect 32 186 52 190
rect 56 186 76 190
rect 80 186 100 190
rect 104 186 124 190
rect 128 186 137 190
rect 0 185 137 186
rect 17 123 21 185
rect 35 181 39 185
rect 71 135 75 185
rect 98 135 102 185
rect 8 102 12 103
rect 26 102 30 103
rect 53 102 57 103
rect 62 102 66 103
rect 80 102 84 103
rect 125 119 129 185
rect 89 102 93 103
rect 116 102 120 103
rect 67 89 80 94
rect 67 80 89 85
rect 112 80 116 85
rect 40 71 53 76
rect 58 71 85 76
rect 89 71 90 76
rect 103 71 116 76
rect 26 62 44 67
rect 53 62 76 67
rect 80 62 112 67
rect 116 62 117 67
rect 22 53 40 58
rect 44 53 67 58
rect 71 53 103 58
rect 107 53 108 58
rect 13 44 26 49
rect 31 44 121 49
rect 125 44 126 49
rect 8 35 12 36
rect 35 35 39 36
rect 53 35 57 36
rect 62 35 66 36
rect 89 35 93 36
rect 98 35 102 36
rect 107 35 111 36
rect 116 35 120 36
rect 26 6 30 15
rect 44 6 48 15
rect 80 6 84 19
rect 125 6 129 19
rect 0 5 137 6
rect 0 1 4 5
rect 8 1 28 5
rect 32 1 52 5
rect 56 1 76 5
rect 80 1 100 5
rect 104 1 124 5
rect 128 1 137 5
rect 0 0 137 1
<< m2contact >>
rect 8 97 13 102
rect 26 97 31 102
rect 53 97 58 102
rect 62 97 67 102
rect 80 97 85 102
rect 89 97 94 102
rect 116 97 121 102
rect 62 89 67 94
rect 80 89 85 94
rect 62 80 67 85
rect 107 80 112 85
rect 35 71 40 76
rect 98 71 103 76
rect 116 71 121 76
rect 26 44 31 49
rect 8 36 13 41
rect 35 36 40 41
rect 53 36 58 41
rect 62 36 67 41
rect 89 36 94 41
rect 98 36 103 41
rect 107 36 112 41
rect 116 36 121 41
<< metal2 >>
rect 8 49 13 97
rect 26 49 31 97
rect 53 76 58 97
rect 62 94 67 97
rect 80 94 85 97
rect 89 85 94 97
rect 116 85 121 97
rect 8 41 13 44
rect 35 41 40 71
rect 53 41 58 71
rect 62 41 67 80
rect 89 41 94 80
rect 98 41 103 71
rect 107 41 112 80
rect 116 41 121 71
<< m123contact >>
rect 17 53 22 58
rect 8 44 13 49
rect 53 71 58 76
rect 44 62 49 67
rect 89 80 94 85
rect 116 80 121 85
<< labels >>
rlabel metal1 13 53 15 58 0 a2
port 1 nsew
rlabel metal1 22 62 24 67 0 b2
port 2 nsew
rlabel metal1 8 44 10 49 0 g2b
port 3 nsew
rlabel m2contact 62 80 64 85 0 p2
port 4 nsew
rlabel m2contact 107 80 109 85 0 p2b
port 5 nsew
rlabel m2contact 35 71 37 76 0 t2b
port 6 nsew
rlabel m2contact 62 89 64 94 0 aoi2_xp1
rlabel m2contact 98 71 100 76 0 oai2_xn1
rlabel metal1 0 185 2 191 0 vdd
port 7 nsew
rlabel metal1 0 0 2 6 0 gnd
port 8 nsew
<< end >>

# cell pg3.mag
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
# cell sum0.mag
magic
tech scmos
<< nwell >>
rect 0 88 84 139
<< ntransistor >>
rect 14 10 16 26
rect 23 10 25 26
rect 32 10 34 26
rect 41 10 43 26
rect 50 16 52 26
<< ptransistor >>
rect 14 94 16 114
rect 23 94 25 126
rect 32 94 34 126
rect 41 94 43 126
rect 50 94 52 126
<< ndiffusion >>
rect 12 10 14 26
rect 16 10 23 26
rect 25 10 26 26
rect 30 10 32 26
rect 34 10 41 26
rect 43 10 44 26
rect 48 16 50 26
rect 52 16 53 26
<< pdiffusion >>
rect 12 94 14 114
rect 16 94 17 114
rect 21 94 23 126
rect 25 94 26 126
rect 30 94 32 126
rect 34 94 35 126
rect 39 94 41 126
rect 43 94 44 126
rect 48 94 50 126
rect 52 94 53 126
<< ndcontact >>
rect 8 10 12 26
rect 26 10 30 26
rect 44 10 48 26
rect 53 16 57 26
<< pdcontact >>
rect 8 94 12 114
rect 17 94 21 126
rect 26 94 30 126
rect 35 94 39 126
rect 44 94 48 126
rect 53 94 57 126
<< psubstratepcontact >>
rect 4 1 8 5
rect 28 1 32 5
rect 52 1 56 5
<< nsubstratencontact >>
rect 4 131 8 135
rect 28 131 32 135
rect 52 131 56 135
<< polysilicon >>
rect 23 126 25 129
rect 32 126 34 129
rect 41 126 43 129
rect 50 126 52 129
rect 14 114 16 117
rect 14 49 16 94
rect 23 58 25 94
rect 32 85 34 94
rect 14 26 16 44
rect 23 26 25 53
rect 32 26 34 80
rect 41 40 43 94
rect 50 49 52 94
rect 41 26 43 35
rect 50 26 52 44
rect 50 13 52 16
rect 14 7 16 10
rect 23 7 25 10
rect 32 7 34 10
rect 41 7 43 10
<< polycontact >>
rect 31 80 35 85
rect 22 53 26 58
rect 13 44 17 49
rect 49 44 53 49
rect 40 35 44 40
<< metal1 >>
rect 0 135 84 136
rect 0 131 4 135
rect 8 131 28 135
rect 32 131 52 135
rect 56 131 84 135
rect 0 130 84 131
rect 17 126 21 130
rect 53 126 57 130
rect 8 93 12 94
rect 26 93 30 94
rect 35 93 39 94
rect 44 93 48 94
rect 35 80 71 85
rect 31 71 44 76
rect 31 62 35 67
rect 26 53 62 58
rect 22 44 49 49
rect 53 44 54 49
rect 13 35 40 40
rect 44 35 53 40
rect 26 26 30 27
rect 53 26 57 27
rect 8 6 12 10
rect 44 6 48 10
rect 0 5 84 6
rect 0 1 4 5
rect 8 1 28 5
rect 32 1 52 5
rect 56 1 84 5
rect 0 0 84 1
<< m2contact >>
rect 8 88 13 93
rect 26 88 31 93
rect 35 88 40 93
rect 44 88 49 93
rect 26 71 31 76
rect 44 71 49 76
rect 26 62 31 67
rect 8 35 13 40
rect 53 35 58 40
rect 26 27 31 32
rect 53 27 58 32
<< metal2 >>
rect 8 40 13 88
rect 26 76 31 88
rect 35 67 40 88
rect 44 76 49 88
rect 26 32 31 62
rect 53 32 58 35
<< m123contact >>
rect 71 80 76 85
rect 35 62 40 67
rect 17 44 22 49
rect 62 53 67 58
<< labels >>
rlabel metal1 13 44 15 49 0 c0
port 1 nsew
rlabel metal1 22 53 24 58 0 p0
port 2 nsew
rlabel metal1 31 80 33 85 0 p0b
port 3 nsew
rlabel m2contact 26 62 28 67 0 s0
port 4 nsew
rlabel m2contact 8 35 10 40 0 x0_cb
rlabel m2contact 26 71 28 76 0 x0_s1xp1
rlabel metal1 0 130 2 136 0 vdd
port 5 nsew
rlabel metal1 0 0 2 6 0 gnd
port 6 nsew
<< end >>

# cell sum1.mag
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
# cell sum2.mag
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
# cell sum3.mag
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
